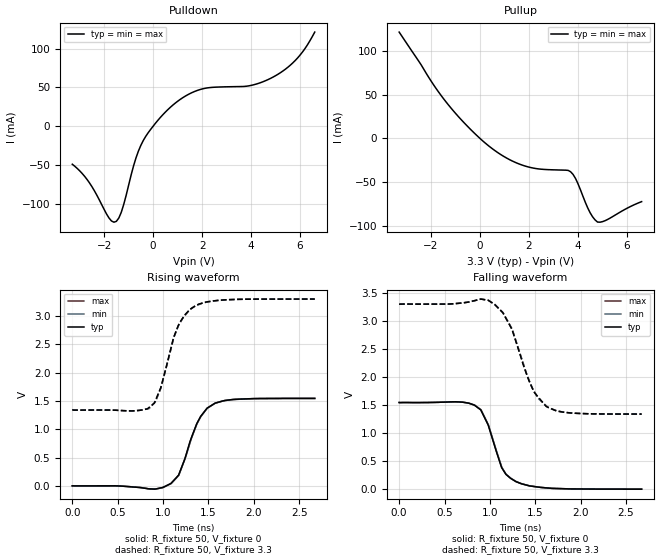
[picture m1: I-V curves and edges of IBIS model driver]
| IBIS file ex2_fast_5ps_tr1ps.ibs created by PYS2IBIS3
| Missouri S&T EMC Lab
[IBIS Ver] 7.1
[File Name] ex2_fast_5ps_tr1ps.ibs
[File Rev] 1.0
[Date] July 28, 2026
[Source] ex2 buffer.sp characterized with s2ibispy and HSPICE
[Notes] Parameter selection; sim_time=2.673e-09, tr=tf=1.000e-12.
[Disclaimer] Experimental characterization for pybis observability study.
[Component] MCM Driver 1
[Manufacturer] MegaFLOPS Inc.
[Package]
| variable   typ   min   max
R_pkg 0 NA NA
L_pkg 0H NA NA
C_pkg 0F NA NA
[Pin]  signal_name   model_name   R_pin   L_pin   C_pin
vdd   vdd   POWER
gnd   gnd   GND
| in in dummy
out   out   driver
| End of Component
| Models and submodels in the file (1): driver (Output)
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[Model] driver
Model_type Output
Polarity Non-Inverting
Enable Active-Low
Vinl  = 0.8V
Vinh  = 2V
C_comp 5.0000pF 5.0000pF 5.0000pF
[Temperature Range] 27.0000 27.0000 27.0000
[Voltage Range] 3.3000V 3.3000V 3.3000V
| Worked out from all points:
|   slope of the pulldown table from 0 to 0.495 V, typ, clamps not added: 27.4 ohm
|   slope of the pullup table from 0 to 0.495 V, typ, clamps not added: 42.7 ohm
|   rising waveform, R_fixture 50, V_fixture 0: 20-80 % time 218ps typ, 220ps min, 220ps max; typ from 0 V to 1.54 V
|   rising waveform, R_fixture 50, V_fixture 3.3: 20-80 % time 219ps typ, 220ps min, 220ps max; typ from 1.34 V to 3.3 V
|   falling waveform, R_fixture 50, V_fixture 0: 20-80 % time 205ps typ, 205ps min, 205ps max; typ from 1.54 V to 0 V
|   falling waveform, R_fixture 50, V_fixture 3.3: 20-80 % time 263ps typ, 265ps min, 265ps max; typ from 3.3 V to 1.34 V
[Pulldown]
| Voltage   I(typ)   I(min)   I(max)
-3.3V     -48.93mA   -48.93mA   -48.93mA
-2.6V     -72.86mA   -72.86mA   -72.86mA
-1.8V     -118.2mA   -118.2mA   -118.2mA
-1.5V     -122.5mA   -122.5mA   -122.5mA
-1.3V     -110.9mA   -110.9mA   -110.9mA
-500mV    -24.59mA   -24.59mA   -24.59mA
600mV     21.34mA    21.34mA    21.34mA
1.9V      47.12mA    47.12mA    47.12mA
3.9V      51.99mA    51.99mA    51.99mA
4.9V      63.38mA    63.38mA    63.38mA
5.9V      87.99mA    87.99mA    87.99mA
6.6V      121.3mA    121.3mA    121.3mA
[Pullup]
| Voltage   I(typ)   I(min)   I(max)
-3.3V     122mA      122mA      122mA
-1.9V     61.75mA    61.75mA    61.75mA
-1.3V     38.86mA    38.86mA    38.86mA
-200mV    5.278mA    5.278mA    5.278mA
700mV     -15.75mA   -15.75mA   -15.75mA
2V        -32.92mA   -32.92mA   -32.92mA
3.7V      -38.24mA   -38.24mA   -38.24mA
3.9V      -45.89mA   -45.89mA   -45.89mA
4.5V      -85.43mA   -85.43mA   -85.43mA
4.8V      -95.97mA   -95.97mA   -95.97mA
5.1V      -94.48mA   -94.48mA   -94.48mA
6.6V      -72.53mA   -72.53mA   -72.53mA
[Ramp]
| variable   typ   min   max
dV/dt_r 0.9270/0.2185n 0.9270/0.2195n 0.9270/0.2195n
dV/dt_f 1.1766/0.2651n 1.1766/0.2652n 1.1766/0.2652n
R_load = 50
[Rising Waveform]
R_fixture = 50
V_fixture = 0
|time   V(typ)   V(min)   V(max)
0s        7.302nV    7.302nV    7.302nV
906.9ps   -58.26mV   -55.7mV    -55.7mV
992.5ps   -30.62mV   -33.73mV   -33.73mV
1.084ns   36.87mV    37.38mV    37.38mV
1.175ns   201.9mV    189.9mV    189.9mV
1.37ns    1.092V     1.083V     1.083V
1.482ns   1.366V     1.363V     1.363V
1.57ns    1.459V     1.457V     1.457V
1.851ns   1.535V     1.533V     1.533V
2.673ns   1.545V     1.545V     1.545V
[Rising Waveform]
R_fixture = 50
V_fixture = 3.3
|time   V(typ)   V(min)   V(max)
0s        1.338V     1.338V     1.338V
848.1ps   1.388V     1.37V      1.37V
904.3ps   1.462V     1.464V     1.464V
973.8ps   1.728V     1.717V     1.717V
1.113ns   2.603V     2.583V     2.583V
1.166ns   2.828V     2.818V     2.818V
1.287ns   3.099V     3.099V     3.099V
1.391ns   3.21V      3.201V     3.201V
1.771ns   3.292V     3.293V     3.293V
2.673ns   3.3V       3.3V       3.3V
[Falling Waveform]
R_fixture = 50
V_fixture = 0
|time   V(typ)   V(min)   V(max)
0s        1.545V     1.545V     1.545V
671.5ps   1.556V     1.555V     1.555V
832ps     1.495V     1.499V     1.499V
898.9ps   1.415V     1.419V     1.419V
981.8ps   1.141V     1.153V     1.153V
1.129ns   386.2mV    394.7mV    394.7mV
1.22ns    202.4mV    206.2mV    206.2mV
1.338ns   100.9mV    102.7mV    102.7mV
1.667ns   15.03mV    15.24mV    15.24mV
2.673ns   73.36uV    78.21uV    78.21uV
[Falling Waveform]
R_fixture = 50
V_fixture = 3.3
|time   V(typ)   V(min)   V(max)
0s        3.3V       3.3V       3.3V
984.5ps   3.365V     3.367V     3.367V
1.142ns   3.147V     3.152V     3.152V
1.241ns   2.858V     2.866V     2.866V
1.372ns   2.194V     2.218V     2.218V
1.466ns   1.805V     1.808V     1.808V
1.53ns    1.648V     1.623V     1.623V
1.621ns   1.475V     1.486V     1.486V
1.905ns   1.357V     1.357V     1.357V
2.673ns   1.339V     1.339V     1.339V
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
